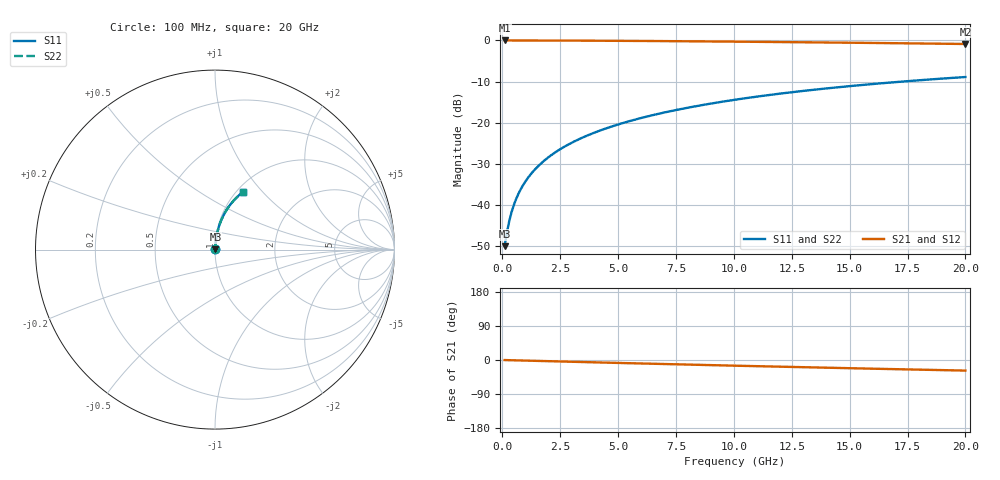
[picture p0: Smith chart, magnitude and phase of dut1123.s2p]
! Touchstone file exported from HFSS 2024.1.0
!  File:  C:/UserFiles/LocalFiles/RDL_TSV_Batchsim/temp_RDL_bottom_1123_1780054901.aedt
!  Generated:  07:44:22 PM May 29, 2026
!  Design:  RDL_bottom
!  Project:  temp_RDL_bottom_1123_1780054901
!  Setup:  Setup1
!  Solution:  Sweep
! Variables:
!  dtsv = 10.80580581um
!  hbump = 3um
!  htsv = 76.36um
!  ldown = 298.26um
!  lrdl = 100um
!  p = 40
!  p1 = 58.27um
!  rhole = 1um
!  t = 450um
!  tdown = 3.59um
!  trdl = 3.915915916um
!  wdown = 12.52um
!  wrdl = 20um
# GHz S MA R 50.000000
! Terminal data exported
! Port[1] = RDL1_T1
! Port[2] = RDL1_T2
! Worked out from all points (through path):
!   200 points, 100 MHz to 20 GHz, reference 50 ohm
!   highest |S21| = -0.02 dB at 100 MHz (marker M1); lowest = -0.9 dB at 20 GHz (marker M2)
!   group delay of S21, straight-line fit = 3.87 ps
!   lowest |S11| = -50.0 dB at 100 MHz (marker M3), VSWR 1.01, Z = 50.2 + j0.196 ohm
!   |S11| at or under -10 dB: start of sweep to 17.3 GHz
!   |S22| runs from -50.0 to -8.9 dB; largest |S21 - S12| = 2.6e-15
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0.1  0.003157 38.2  0.9975 -0.2  0.9975 -0.2  0.003157 38.2
! Gamma 0 0 0 0
! Port Impedance 50 0 50 0
0.2  0.004641 57.1  0.9975 -0.3  0.9975 -0.3  0.004641 57.1
0.3  0.00637 66.1  0.9974 -0.5  0.9974 -0.5  0.00637 66.1
0.4  0.008177 71.1  0.9973 -0.6  0.9973 -0.6  0.008177 71.1
0.5  0.01001 74.2  0.9973 -0.8  0.9973 -0.8  0.01001 74.2
0.6  0.01186 76.4  0.9972 -1.0  0.9972 -1.0  0.01186 76.4
0.8  0.01558 79.1  0.997 -1.3  0.997 -1.3  0.01558 79.1
1.1  0.02119 81.2  0.9967 -1.7  0.9967 -1.7  0.02119 81.2
1.5  0.02871 82.7  0.9963 -2.4  0.9963 -2.4  0.02871 82.7
1.8  0.03436 83.2  0.9959 -2.8  0.9959 -2.8  0.03436 83.2
2.1  0.04003 83.5  0.9954 -3.3  0.9954 -3.3  0.04003 83.5
2.7  0.05139 83.7  0.9942 -4.2  0.9942 -4.2  0.05139 83.7
3.5  0.06656 83.4  0.9923 -5.5  0.9923 -5.5  0.06656 83.4
4.2  0.07985 82.9  0.9903 -6.5  0.9903 -6.5  0.07985 82.9
5  0.09504 82.3  0.9877 -7.7  0.9877 -7.7  0.09504 82.3
5.9  0.1121 81.4  0.9844 -9.1  0.9844 -9.1  0.1121 81.4
6.8  0.1292 80.4  0.9807 -10.4  0.9807 -10.4  0.1292 80.4
8.3  0.1574 78.7  0.9738 -12.6  0.9738 -12.6  0.1574 78.7
10.1  0.1908 76.5  0.9648 -15.1  0.9648 -15.1  0.1908 76.5
13.4  0.2503 72.3  0.9463 -19.6  0.9463 -19.6  0.2503 72.3
16.7  0.3064 68.1  0.9258 -23.8  0.9258 -23.8  0.3064 68.1
20  0.3587 64.0  0.9038 -27.9  0.9038 -27.9  0.3587 64.0
